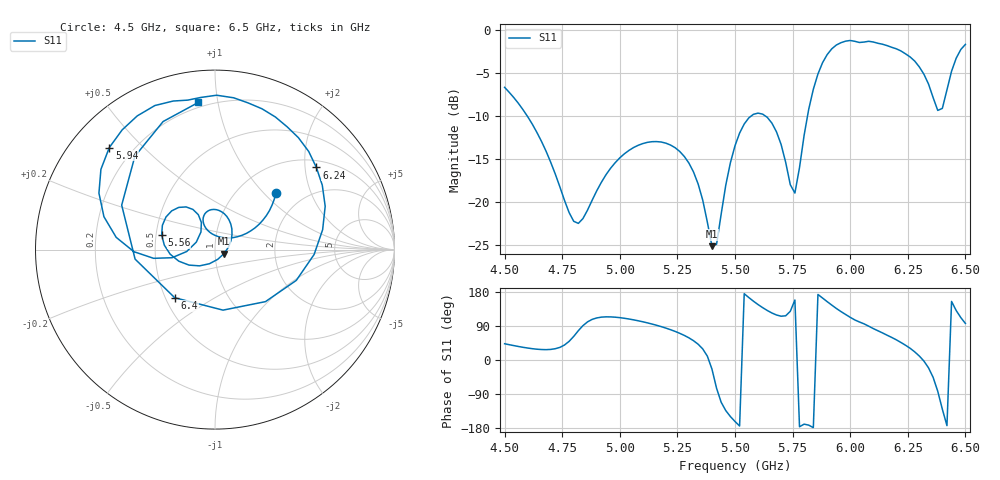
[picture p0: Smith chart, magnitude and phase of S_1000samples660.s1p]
! TOUCHSTONE file generated by CST MICROWAVE STUDIO
! Date and time: Fri Oct 28 22:48:29 2022
! Project name: L.cst
! Parameters = {Di=1.27; Epsilon_r=1.56; InnerDiameter=1.27; Length=2; Lf=10; Lg=60; OuterConductorThickness=0.2921; OuterDiameter=3.6; Wf=3; Wp=41.2; de=1.5; df=6.8; g=0.8; gx=1.37824; gy=1.98394; h=2.34; hf=1.524; px=13.259; py=8.45204; w=9.7; wx=11.8807; wy=6.4681}
! Header version: 2018
! Port assignment regex: !\s*Touchstone port\s*([0-9]+)\s*=\s*(CST MWS port|CST DS port)\s*([0-9]+|Zmin|Zmax)\s*\(\"(.*)\"\)(\s*mode\s*([0-9]+))?.*
! Touchstone port assignment:
! Touchstone port 1 = CST MWS port 1 ("")
# GHz S DB R 50
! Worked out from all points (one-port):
!   101 points, 4.5 GHz to 6.5 GHz, reference 50 ohm
!   lowest |S11| = -25.2 dB at 5.4 GHz (marker M1), VSWR 1.12, Z = 55.2 - j2.48 ohm
!   |S11| at or under -10 dB: 4.598 GHz to 5.571 GHz (973.4 MHz wide, 19.1 % of centre); 5.631 GHz to 5.815 GHz (184.1 MHz wide, 3.22 % of centre)
!   S11 on the Smith chart (normalised r, x): 4.5 GHz: 1.47, +1.18; 5.56 GHz: 0.54, +0.10; 5.94 GHz: 0.12, +0.40; 6.24 GHz: 1.18, +2.30; 6.4 GHz: 0.56, -0.34; 6.5 GHz: 0.17, +0.88
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4.5  -6.67 42.9
4.64  -11.92 28.5
4.76  -19.85 39.6
4.82  -22.53 77.3
5  -14.89 111.8
5.14  -13.01 94.9
5.26  -14.15 70.4
5.34  -17.94 41.6
5.4  -25.19 -24.0
5.42  -24.97 -74.6
5.5  -13.48 -162.3
5.56  -10.23 164.8
5.66  -10.84 124.1
5.76  -19.00 158.3
5.84  -6.90 -178.5
5.9  -2.86 154.0
5.94  -1.74 136.0
6  -1.21 112.7
6.12  -1.54 77.2
6.24  -2.77 39.0
6.26  -3.13 31.0
6.3  -4.29 10.5
6.34  -6.30 -20.7
6.38  -9.37 -82.4
6.4  -9.13 -129.9
6.44  -4.79 154.5
6.48  -2.27 112.1
6.5  -1.67 96.5
